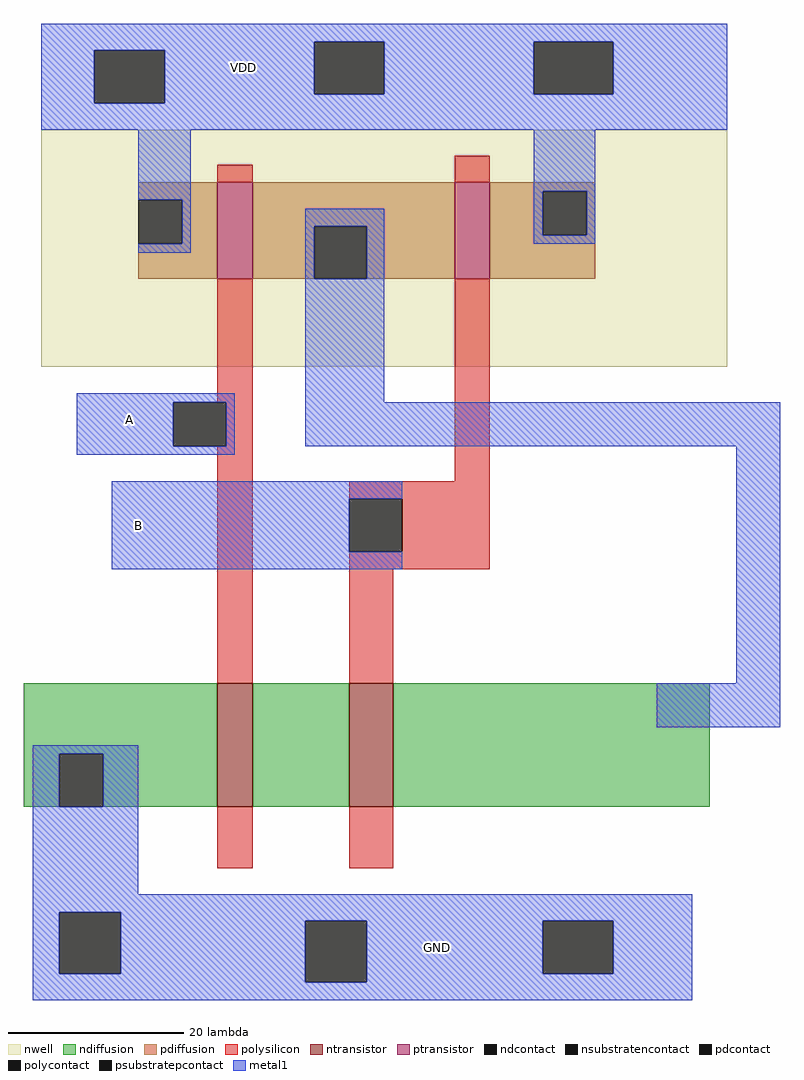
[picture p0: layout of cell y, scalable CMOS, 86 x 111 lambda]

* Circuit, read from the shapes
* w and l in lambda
.subckt y A B GND VDD
M1 n1 A GND VDD nfet w=14 l=4
M2 n2 B n1 VDD nfet w=14 l=5
M3 n3 A VDD n4 pfet w=11 l=4
M4 VDD B n3 n4 pfet w=11 l=4
.ends

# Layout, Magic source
magic
tech scmos
<< nwell >>
rect -40 -11 38 16
<< ntransistor >>
rect -20 -61 -16 -47
rect -5 -61 0 -47
<< ptransistor >>
rect -20 -1 -16 10
rect 7 -1 11 10
<< ndiffusion >>
rect -42 -55 -20 -47
rect -42 -61 -38 -55
rect -33 -61 -20 -55
rect -16 -61 -5 -47
rect 0 -61 36 -47
<< pdiffusion >>
rect -29 8 -20 10
rect -24 3 -20 8
rect -29 -1 -20 3
rect -16 5 7 10
rect -16 -1 -9 5
rect -3 -1 7 5
rect 11 9 23 10
rect 11 4 17 9
rect 22 4 23 9
rect 11 -1 23 4
<< ndcontact >>
rect -38 -61 -33 -55
<< pdcontact >>
rect -29 3 -24 8
rect -9 -1 -3 5
rect 17 4 22 9
<< psubstratepcontact >>
rect -34 19 -26 25
rect -9 20 -1 26
rect 16 20 25 26
<< nsubstratencontact >>
rect -38 -80 -31 -73
rect -10 -81 -3 -74
rect 17 -80 25 -74
<< polysilicon >>
rect -20 10 -16 12
rect 7 10 11 13
rect -20 -15 -16 -1
rect -19 -20 -16 -15
rect -20 -47 -16 -20
rect 7 -24 11 -1
rect -5 -26 11 -24
rect 1 -32 11 -26
rect -5 -34 11 -32
rect -5 -47 0 -34
rect -20 -68 -16 -61
rect -5 -68 0 -61
<< polycontact >>
rect -25 -20 -19 -15
rect -5 -32 1 -26
<< metal1 >>
rect -40 26 38 28
rect -40 25 -9 26
rect -40 19 -34 25
rect -26 20 -9 25
rect -1 20 16 26
rect 25 20 38 26
rect -26 19 38 20
rect -40 16 38 19
rect -29 8 -23 16
rect -24 3 -23 8
rect 16 9 23 16
rect -29 2 -23 3
rect -10 5 -1 7
rect -10 -1 -9 5
rect -3 -1 -1 5
rect 16 4 17 9
rect 22 4 23 9
rect 16 3 23 4
rect -36 -15 -18 -14
rect -36 -20 -25 -15
rect -19 -20 -18 -15
rect -10 -15 -1 -1
rect -10 -20 44 -15
rect -36 -21 -18 -20
rect -32 -26 1 -24
rect -32 -32 -5 -26
rect -32 -34 1 -32
rect 39 -47 44 -20
rect 30 -52 44 -47
rect -41 -55 -29 -54
rect -41 -61 -38 -55
rect -33 -61 -29 -55
rect -41 -71 -29 -61
rect -41 -73 34 -71
rect -41 -80 -38 -73
rect -31 -74 34 -73
rect -31 -80 -10 -74
rect -41 -81 -10 -80
rect -3 -80 17 -74
rect 25 -80 34 -74
rect -3 -81 34 -80
rect -41 -83 34 -81
<< labels >>
rlabel metal1 -30 -17 -30 -17 1 A
rlabel metal1 -29 -29 -29 -29 1 B
rlabel metal1 -17 23 -17 23 5 VDD
rlabel metal1 5 -77 5 -77 1 GND
<< end >>
